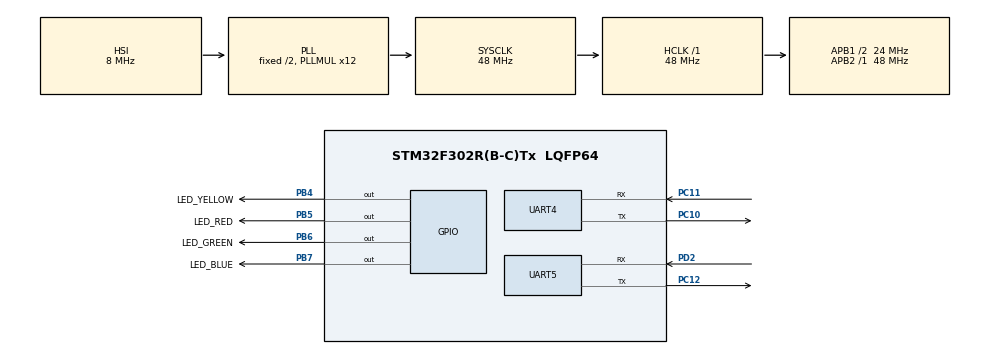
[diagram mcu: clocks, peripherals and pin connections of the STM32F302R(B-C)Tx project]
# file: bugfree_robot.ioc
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Dma.Request0=UART4_RX
Dma.Request1=UART4_TX
Dma.UART4_RX.0.Direction=DMA_PERIPH_TO_MEMORY
Dma.UART4_RX.0.Instance=DMA2_Channel3
Dma.UART4_RX.0.MemDataAlignment=DMA_MDATAALIGN_BYTE
Dma.UART4_RX.0.MemInc=DMA_MINC_ENABLE
Dma.UART4_RX.0.Mode=DMA_CIRCULAR
Dma.UART4_RX.0.PeriphDataAlignment=DMA_PDATAALIGN_BYTE
Dma.UART4_RX.0.PeriphInc=DMA_PINC_DISABLE
Dma.UART4_RX.0.Priority=DMA_PRIORITY_LOW
Dma.UART4_TX.1.Direction=DMA_MEMORY_TO_PERIPH
Dma.UART4_TX.1.Instance=DMA2_Channel5
Dma.UART4_TX.1.MemDataAlignment=DMA_MDATAALIGN_BYTE
Dma.UART4_TX.1.MemInc=DMA_MINC_ENABLE
Dma.UART4_TX.1.Mode=DMA_NORMAL
Dma.UART4_TX.1.PeriphDataAlignment=DMA_PDATAALIGN_BYTE
Dma.UART4_TX.1.PeriphInc=DMA_PINC_DISABLE
Dma.UART4_TX.1.Priority=DMA_PRIORITY_LOW
Mcu.Family=STM32F3
Mcu.Name=STM32F302R(B-C)Tx
Mcu.Package=LQFP64
NVIC.DMA2_Channel3_IRQn=true\:0\:0\:false\:false\:true\:false\:true
NVIC.DMA2_Channel5_IRQn=true\:0\:0\:false\:false\:true\:false\:true
NVIC.PriorityGroup=NVIC_PRIORITYGROUP_4
NVIC.UART4_IRQn=true\:0\:0\:false\:false\:true\:true\:true
PA13.Mode=Trace_Asynchronous_SW
PA13.Signal=SYS_JTMS-SWDIO
PA14.Mode=Trace_Asynchronous_SW
PA14.Signal=SYS_JTCK-SWCLK
PB3.Mode=Trace_Asynchronous_SW
PB3.Signal=SYS_JTDO-TRACESWO
PB4.GPIO_Label=LED_YELLOW
PB4.Signal=GPIO_Output
PB5.GPIO_Label=LED_RED
PB5.Signal=GPIO_Output
PB6.GPIO_Label=LED_GREEN
PB6.Signal=GPIO_Output
PB7.GPIO_Label=LED_BLUE
PB7.Signal=GPIO_Output
PC10.GPIO_PuPd=GPIO_NOPULL
PC10.Mode=Asynchronous
PC10.Signal=UART4_TX
PC11.GPIO_PuPd=GPIO_NOPULL
PC11.Mode=Asynchronous
PC11.Signal=UART4_RX
PC12.Mode=Asynchronous
PC12.Signal=UART5_TX
PD2.Mode=Asynchronous
PD2.Signal=UART5_RX
PF0-OSC_IN.Mode=HSE-External-Oscillator
PF0-OSC_IN.Signal=RCC_OSC_IN
PF1-OSC_OUT.Mode=HSE-External-Oscillator
PF1-OSC_OUT.Signal=RCC_OSC_OUT
ProjectManager.HeapSize=0x200
ProjectManager.StackSize=0x400
ProjectManager.TargetToolchain=STM32CubeIDE
RCC.AHBFreq_Value=48000000
RCC.APB1CLKDivider=RCC_HCLK_DIV2
RCC.APB1Freq_Value=24000000
RCC.APB1TimFreq_Value=48000000
RCC.APB2Freq_Value=48000000
RCC.APB2TimFreq_Value=48000000
RCC.CortexFreq_Value=48000000
RCC.HCLKFreq_Value=48000000
RCC.HSE_VALUE=8000000
RCC.HSI_VALUE=8000000
RCC.LSE_VALUE=32768
RCC.PLLMUL=RCC_PLL_MUL12
RCC.SYSCLKFreq_VALUE=48000000
RCC.SYSCLKSourceVirtual=RCC_SYSCLKSOURCE_PLLCLK
RCC.USBFreq_Value=48000000
board=custom

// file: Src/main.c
/* USER CODE BEGIN Header */
/**
  ******************************************************************************
  * @file           : main.c
  * @brief          : Main program body
  ******************************************************************************
  * @attention
  *
  * <h2><center>&copy; Copyright (c) 2019 STMicroelectronics.
  * All rights reserved.</center></h2>
  *
  * This software component is licensed by ST under BSD 3-Clause license,
  * the "License"; You may not use this file except in compliance with the
  * License. You may obtain a copy of the License at:
  *                        opensource.org/licenses/BSD-3-Clause
  *
  ******************************************************************************
  */
/* USER CODE END Header */

#include "main.h"
#include "dma.h"
#include "usart.h"
#include "gpio.h"

/* USER CODE BEGIN Includes */
#include "bugfree/utils/log/log.h"
#include "bugfree/drivers/io/io.h"
#include <strings.h>
#include <stdio.h>
#include "uart_driver.h"
/* USER CODE END Includes */

/* USER CODE BEGIN PV */
uart_buffer_t buff_u4;

int counter = 0;

//RX buffer must be bigger than bigger message length expected to receive
//its size must consider the relation between the speed that data is received
//and the time it takes to process this data

int __io_putchar(int ch){
   ITM_SendChar(ch);
   return(ch);
}

/* USER CODE END PV */

void SystemClock_Config(void);

/* USER CODE BEGIN 0 */

void uart_proccess_data (uint8_t* rx_start, uint8_t len){
    HAL_UART_Transmit(&huart4, rx_start, len, HAL_MAX_DELAY);
}

/* USER CODE END 0 */

int main(void)
{

  /* MCU Configuration--------------------------------------------------------*/

  /* Reset of all peripherals, Initializes the Flash interface and the Systick. */
  HAL_Init();

  /* Configure the system clock */
  SystemClock_Config();

  /* Initialize all configured peripherals */
  MX_GPIO_Init();
  MX_DMA_Init();
  MX_UART4_Init();
  MX_UART5_Init();
  /* USER CODE BEGIN 2 */

  log_init(LOG_DEBUG);

  //setup uart driver parameters and call Init
  buff_u4.buffer_size = 180;
  uint8_t buffer_u4_rx[buff_u4.buffer_size];
  buff_u4.buffer = buffer_u4_rx;
  buff_u4.huart = &huart4;
  uartDriver_init(&buff_u4);

  for (uint16_t i = 0; i < buff_u4.buffer_size; i++){
      buffer_u4_rx[i]= '*';
  }

  HAL_Delay(500);

  /* USER CODE END 2 */

  /* Infinite loop */
  /* USER CODE BEGIN WHILE */
    uint8_t msg[200];
    uint8_t len;

    uint16_t last_bytes_received = 1;
    uint16_t bytes_received = 0;
    uint16_t bytes_free = 0;

    while (1) {
        //testing SWO debug print through ST-Link
//        printf("teste %d\n", counter);

        bytes_received = uartDriver_getAvailableRX(&buff_u4);

        if (bytes_received != last_bytes_received){
            bytes_free = uartDriver_getFreeBytes(&buff_u4);
            last_bytes_received = bytes_received;

            len = snprintf((char*) msg, 100, "\r\nUart buffer\r\n\nHead %d\n\rTail %d\n\rbytes_received %u\n\rbytes_used %u\r\n\n",
                            (int)buff_u4.head_pos, (int)buff_u4.tail_pos, bytes_received, bytes_free);
            len = len > 100 ? 100 : len;

            //print buffer contents
            HAL_UART_Transmit(&huart4, msg, len, HAL_MAX_DELAY);
            HAL_UART_Transmit(&huart4, buff_u4.buffer, buff_u4.buffer_size, HAL_MAX_DELAY);
            HAL_UART_Transmit(&huart4, (uint8_t*)"\r\n", 2, HAL_MAX_DELAY);

            //print header and tail positions right under buffer contents
            for (uint8_t i = 0; i < buff_u4.buffer_size; i++){
                uint8_t c = '_';
                if (i == buff_u4.head_pos){
                    if(buff_u4.head_pos == buff_u4.tail_pos){
                        c = 'x';
                    }
                    else{
                        c = 'H';
                    }
                }
                else if (i == buff_u4.tail_pos){
                    c = 'T';
                }

                HAL_UART_Transmit(&huart4, &c, 1, HAL_MAX_DELAY);
            }

            //deal with buffer content if it has more than 40 bytes
            if (bytes_received > 40){
                uartDriver_free(&buff_u4, bytes_received);
                len = snprintf((char*) msg, 100, "\t\tFREE %d bytes", bytes_received);
                HAL_UART_Transmit(&huart4, msg, len, HAL_MAX_DELAY);
            }
            HAL_UART_Transmit(&huart4, (uint8_t*)"\r\n", 2, HAL_MAX_DELAY);

            counter ++;
            HAL_Delay(100);
        }

    /* USER CODE END WHILE */

  }
}

void SystemClock_Config(void)
{
  RCC_OscInitTypeDef RCC_OscInitStruct = {0};
  RCC_ClkInitTypeDef RCC_ClkInitStruct = {0};
  RCC_PeriphCLKInitTypeDef PeriphClkInit = {0};

  /** Initializes the CPU, AHB and APB busses clocks
  */
  RCC_OscInitStruct.OscillatorType = RCC_OSCILLATORTYPE_HSI;
  RCC_OscInitStruct.HSIState = RCC_HSI_ON;
  RCC_OscInitStruct.HSICalibrationValue = RCC_HSICALIBRATION_DEFAULT;
  RCC_OscInitStruct.PLL.PLLState = RCC_PLL_ON;
  RCC_OscInitStruct.PLL.PLLSource = RCC_PLLSOURCE_HSI;
  RCC_OscInitStruct.PLL.PLLMUL = RCC_PLL_MUL12;
  if (HAL_RCC_OscConfig(&RCC_OscInitStruct) != HAL_OK)
  {
    Error_Handler();
  }
  /** Initializes the CPU, AHB and APB busses clocks
  */
  RCC_ClkInitStruct.ClockType = RCC_CLOCKTYPE_HCLK|RCC_CLOCKTYPE_SYSCLK
                              |RCC_CLOCKTYPE_PCLK1|RCC_CLOCKTYPE_PCLK2;
  RCC_ClkInitStruct.SYSCLKSource = RCC_SYSCLKSOURCE_PLLCLK;
  RCC_ClkInitStruct.AHBCLKDivider = RCC_SYSCLK_DIV1;
  RCC_ClkInitStruct.APB1CLKDivider = RCC_HCLK_DIV2;
  RCC_ClkInitStruct.APB2CLKDivider = RCC_HCLK_DIV1;

  if (HAL_RCC_ClockConfig(&RCC_ClkInitStruct, FLASH_LATENCY_1) != HAL_OK)
  {
    Error_Handler();
  }
  PeriphClkInit.PeriphClockSelection = RCC_PERIPHCLK_UART4|RCC_PERIPHCLK_UART5;
  PeriphClkInit.Uart4ClockSelection = RCC_UART4CLKSOURCE_PCLK1;
  PeriphClkInit.Uart5ClockSelection = RCC_UART5CLKSOURCE_PCLK1;
  if (HAL_RCCEx_PeriphCLKConfig(&PeriphClkInit) != HAL_OK)
  {
    Error_Handler();
  }
}

void Error_Handler(void)
{
}

/************************ (C) COPYRIGHT STMicroelectronics *****END OF FILE****/
